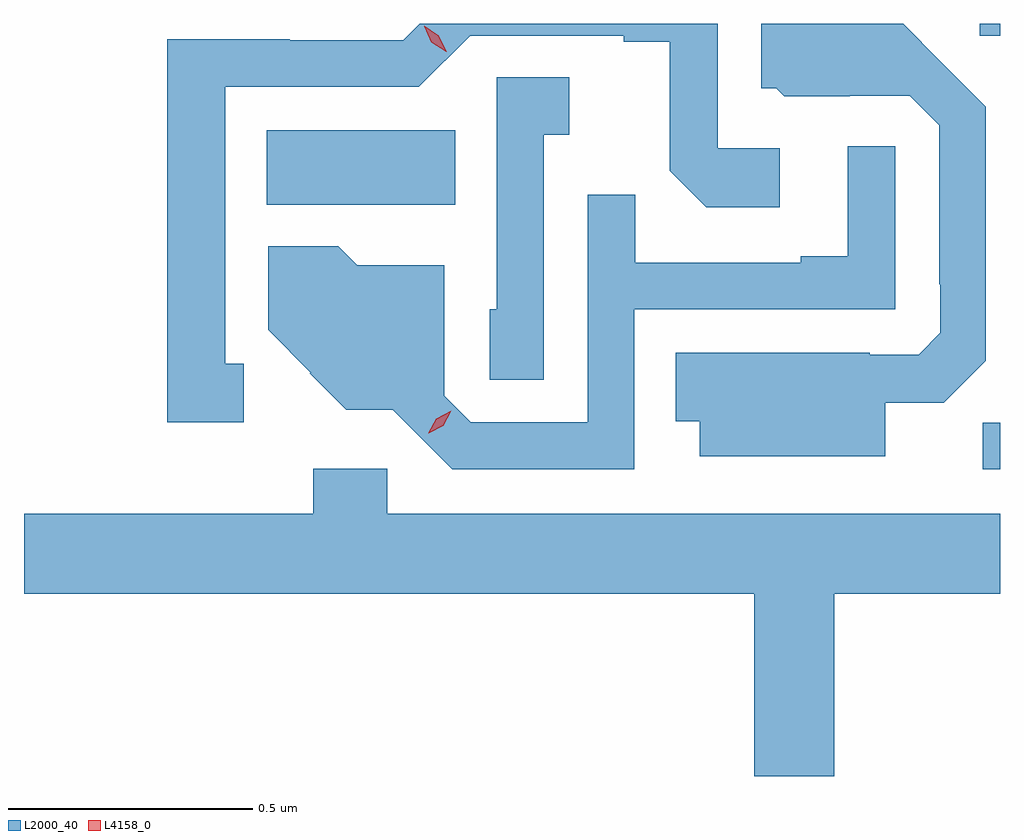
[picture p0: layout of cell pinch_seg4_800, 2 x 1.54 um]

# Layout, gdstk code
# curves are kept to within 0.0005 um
import gdstk
lib = gdstk.Library(unit=1e-6, precision=1e-09)
def R(c, l, rs):  # rectangles x0, y0, x1, y1
    for r in rs: c.add(gdstk.rectangle(r[:2], r[2:], *l))
def P(c, l, *ps):  # polygons
    for p in ps: c.add(gdstk.Polygon(p, *l))
L2000_40 = (2000, 40)
L4158_0 = (4158, 0)

pinch_seg4_800 = lib.new_cell('pinch_seg4_800')
R(pinch_seg4_800, L2000_40, [(800.841,815.724,800.876,815.819), (799.373,816.266,799.76,816.418), (800.835,816.612,800.876,816.637)])
P(pinch_seg4_800, L2000_40, [(799.326,815.94),(799.288,815.94),(799.288,816.507),(799.685,816.507),(799.79,816.612),(800.105,816.612),(800.105,816.6),(800.199,816.6),(800.199,816.335),(800.274,816.26),(800.425,816.26),(800.425,816.381),(800.298,816.381),(800.298,816.637),(799.687,816.637),(799.653,816.603),(799.421,816.603),(799.421,816.605),(799.17,816.605),(799.17,815.82),(799.326,815.82)],
  [(800.641,815.86),(800.761,815.86),(800.847,815.946),(800.847,816.466),(800.678,816.637),(800.387,816.637),(800.387,816.504),(800.418,816.504),(800.434,816.488),(800.568,816.488),(800.568,816.489),(800.691,816.489),(800.751,816.429),(800.751,816.103),(800.754,816.103),(800.754,816.003),(800.709,815.958),(800.609,815.958),(800.609,815.962),(800.212,815.962),(800.212,815.822),(800.261,815.822),(800.261,815.75),(800.641,815.75)],
  [(799.941,816.409),(799.993,816.409),(799.993,816.527),(799.845,816.527),(799.845,816.051),(799.83,816.051),(799.83,815.907),(799.941,815.907)],
  [(800.127,816.051),(800.661,816.051),(800.661,816.385),(800.564,816.385),(800.564,816.16),(800.468,816.16),(800.468,816.147),(800.129,816.147),(800.129,816.286),(800.031,816.286),(800.031,815.82),(799.791,815.82),(799.737,815.874),(799.737,816.142),(799.559,816.142),(799.52,816.181),(799.376,816.181),(799.376,816.009),(799.464,815.921),(799.462,815.92),(799.536,815.846),(799.632,815.846),(799.754,815.724),(800.127,815.724)],
  [(800.536,815.468),(800.876,815.468),(800.876,815.632),(799.62,815.632),(799.62,815.725),(799.469,815.725),(799.469,815.632),(798.876,815.632),(798.876,815.468),(800.372,815.468),(800.372,815.094),(800.536,815.094)])
P(pinch_seg4_800, L4158_0, [(799.704,815.797),(799.704,815.797),(799.721,815.827),(799.752,815.843),(799.752,815.843),(799.752,815.843),(799.735,815.813),(799.705,815.797)],
  [(799.741,816.579),(799.711,816.599),(799.696,816.631),(799.696,816.632),(799.696,816.632),(799.726,816.612),(799.742,816.579),(799.742,816.579)])

lib.write_gds('pinch_seg4_800.gds')
